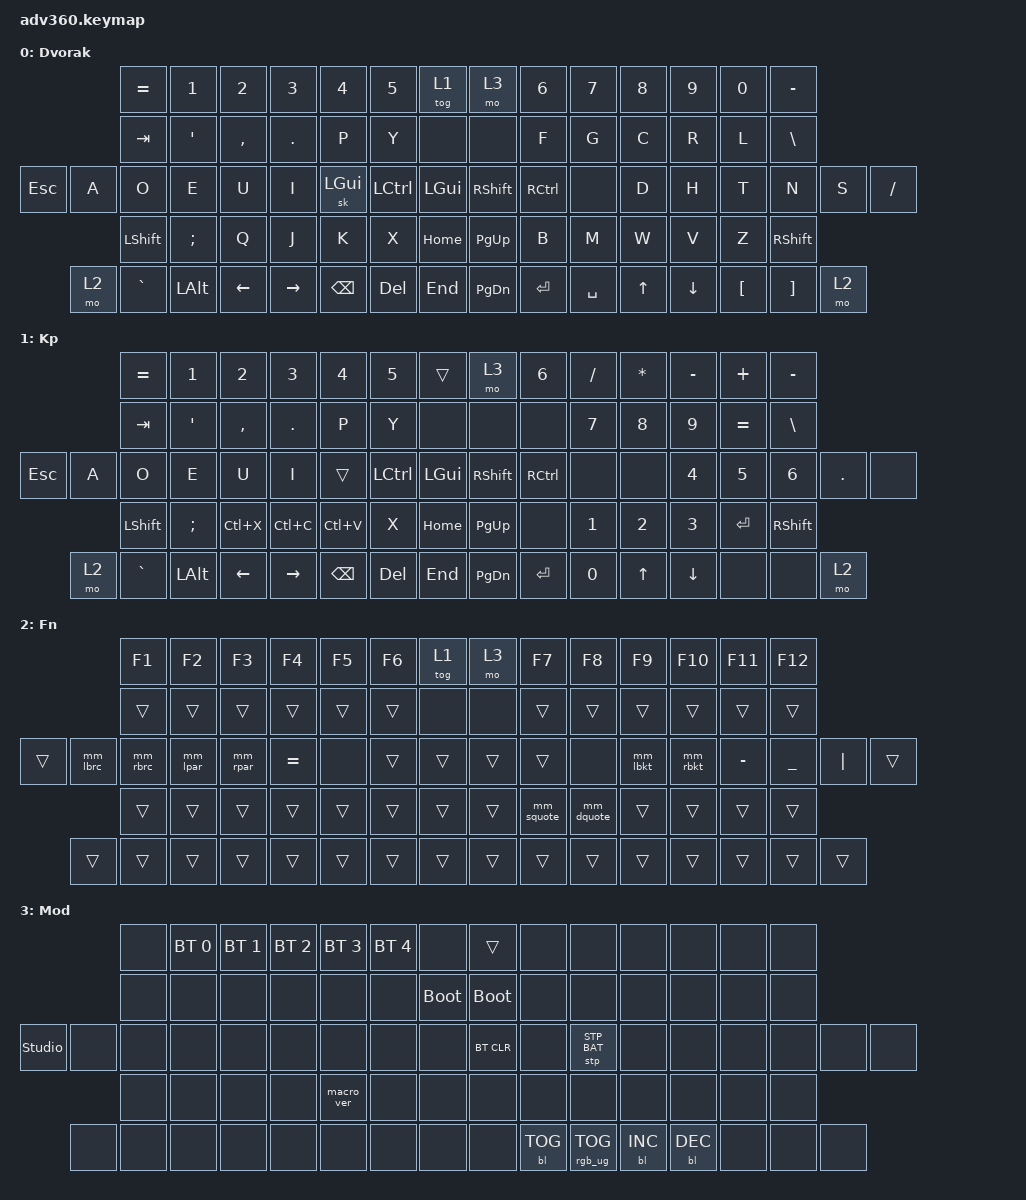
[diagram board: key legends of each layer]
#include <behaviors.dtsi>
#include <dt-bindings/zmk/keys.h>
#include <dt-bindings/zmk/bt.h>
#include <dt-bindings/zmk/rgb.h>
#include <dt-bindings/zmk/stp.h>
#include <dt-bindings/zmk/backlight.h>
#include <dt-bindings/zmk/pointing.h>

/ {
    behaviors {
      #include "macros.dtsi"
      #include "version.dtsi"

      mm_lbrc: mm_lbrc {
          compatible = "zmk,behavior-mod-morph";
          #binding-cells = <0>;
          bindings = <&kp LBRC>, <&macro_braces>;
          mods = <(MOD_LSFT|MOD_RSFT)>;
      };
      mm_rbrc: mm_rbrc {
          compatible = "zmk,behavior-mod-morph";
          #binding-cells = <0>;
          bindings = <&kp RBRC>, <&macro_braces>;
          mods = <(MOD_LSFT|MOD_RSFT)>;
      };
      mm_lpar: mm_lpar {
          compatible = "zmk,behavior-mod-morph";
          #binding-cells = <0>;
          bindings = <&kp LPAR>, <&macro_parens>;
          mods = <(MOD_LSFT|MOD_RSFT)>;
      };
      mm_rpar: mm_rpar {
          compatible = "zmk,behavior-mod-morph";
          #binding-cells = <0>;
          bindings = <&kp RPAR>, <&macro_parens>;
          mods = <(MOD_LSFT|MOD_RSFT)>;
      };
      mm_lbkt: mm_lbkt {
          compatible = "zmk,behavior-mod-morph";
          #binding-cells = <0>;
          bindings = <&kp LBKT>, <&macro_brackets>;
          mods = <(MOD_LSFT|MOD_RSFT)>;
      };
      mm_rbkt: mm_rbkt {
          compatible = "zmk,behavior-mod-morph";
          #binding-cells = <0>;
          bindings = <&kp RBKT>, <&macro_brackets>;
          mods = <(MOD_LSFT|MOD_RSFT)>;
      };
      mm_squote: mm_squote {
          compatible = "zmk,behavior-mod-morph";
          #binding-cells = <0>;
          bindings = <&kp SQT>, <&macro_quotes>;
          mods = <(MOD_LSFT|MOD_RSFT)>;
      };
      mm_dquote: mm_dquote {
          compatible = "zmk,behavior-mod-morph";
          #binding-cells = <0>;
          bindings = <&kp DQT>, <&macro_dquotes>;
          mods = <(MOD_LSFT|MOD_RSFT)>;
      };

      hm: homerow_mods {
          compatible = "zmk,behavior-hold-tap";
          label = "HOMEROW_MODS";
          #binding-cells = <2>;
          tapping-term-ms = <200>;
          quick_tap_ms = <175>;
          flavor = "tap-preferred";
          bindings = <&kp>, <&kp>;
      };
    };

  keymap {
    compatible = "zmk,keymap";

    default_layer {
      display-name = "Dvorak";
      bindings = <
        &kp EQUAL &kp N1   &kp N2    &kp N3  &kp N4  &kp N5 &tog 1                                                              &mo 3 &kp N6 &kp N7 &kp N8  &kp N9  &kp N0  &kp MINUS
        &kp TAB   &kp SQT  &kp COMMA &kp DOT &kp P   &kp Y  &none                                                               &none &kp F  &kp G  &kp C   &kp R   &kp L   &kp BSLH
        &kp ESC   &kp A    &kp O     &kp E   &kp U   &kp I  &sk LGUI        &kp LCTRL &kp LGUI  &kp RSHFT &kp RCTRL              &none &kp D  &kp H  &kp T   &kp N   &kp S   &kp FSLH
        &kp LSHFT &kp SEMI &kp Q     &kp J   &kp K   &kp X                            &kp HOME &kp PG_UP                              &kp B  &kp M  &kp W   &kp V   &kp Z   &kp RSHFT
        &mo 2     &kp GRAVE &kp LALT &kp LEFT &kp RIGHT              &kp BSPC &kp DEL  &kp END  &kp PG_DN &kp ENTER &kp SPACE               &kp UP &kp DOWN &kp LBKT &kp RBKT &mo 2
      >;
    };
    keypad {
      display-name = "Kp";
      bindings = <
        &kp EQUAL &kp N1   &kp N2    &kp N3  &kp N4  &kp N5 &trans                                                              &mo 3 &kp N6 &kp FSLH   &kp STAR     &kp MINUS    &kp PLUS    &kp MINUS
        &kp TAB   &kp SQT  &kp COMMA &kp DOT &kp P   &kp Y  &none                                                               &none &none  &kp N7     &kp N8       &kp N9        &kp EQUAL       &kp BSLH
        &kp ESC   &kp A    &kp O     &kp E   &kp U   &kp I  &trans          &kp LCTRL &kp LGUI  &kp RSHFT &kp RCTRL              &none &none  &kp N4     &kp N5       &kp N6        &kp DOT         &none
        &kp LSHFT &kp SEMI &kp LC(X)     &kp LC(C)   &kp LC(V)   &kp X                            &kp HOME &kp PG_UP                              &none  &kp N1     &kp N2       &kp N3        &kp ENTER       &kp RSHFT
        &mo 2     &kp GRAVE &kp LALT &kp LEFT &kp RIGHT              &kp BSPC &kp DEL  &kp END  &kp PG_DN &kp ENTER &kp N0                   &kp UP     &kp DOWN     &none         &none           &mo 2
      >;
    };
    fn {
      display-name = "Fn";
      bindings = <
        &kp F1 &kp F2 &kp F3 &kp F4 &kp F5 &kp F6 &tog 1                                           &mo 3 &kp F7 &kp F8 &kp F9 &kp F10 &kp F11 &kp F12
        &trans &trans &trans &trans &trans &trans  &none                                           &none &trans &trans &trans &trans  &trans  &trans
        &trans &mm_lbrc &mm_rbrc &mm_lpar &mm_rpar &kp EQUAL  &none        &trans &trans &trans &trans        &none &mm_lbkt &mm_rbkt &kp MINUS &kp UNDER &kp PIPE  &trans
        &trans &trans &trans &trans &trans &trans                      &trans &trans                     &mm_squote &mm_dquote &trans &trans  &trans  &trans
        &trans &trans &trans &trans &trans               &trans &trans &trans &trans &trans &trans              &trans &trans &trans  &trans  &trans
      >;
    };
    mod {
      display-name = "Mod";
      bindings = <
        &none &bt BT_SEL 0 &bt BT_SEL 1 &bt BT_SEL 2 &bt BT_SEL 3 &bt BT_SEL 4 &none                                                                     &trans                 &none        &none        &none        &none &none &none
        &none &none        &none        &none        &none        &none        &bootloader                                                               &bootloader            &none        &none        &none        &none &none &none
        &studio_unlock &none        &none        &none        &none        &none        &none                   &none &none &bt BT_CLR &none                      &stp STP_BAT &none        &none        &none        &none &none &none
        &none &none        &none        &none        &macro_ver   &none                                      &none &none                                                        &none        &none        &none        &none &none &none
        &none &none        &none        &none        &none                                       &none &none &none &none      &bl BL_TOG &rgb_ug RGB_TOG                                     &bl BL_INC   &bl BL_DEC   &none &none &none
      >;
    };
    extra1 {
      display-name = "Red";
      status = "reserved";
    };

    extra2 {
      display-name = "Purple";
      status = "reserved";
    };

    extra3 {
      display-name = "Cyan";
      status = "reserved";
    };

    extra4 {
      display-name = "Yellow";
      status = "reserved";
    };
  };
};
